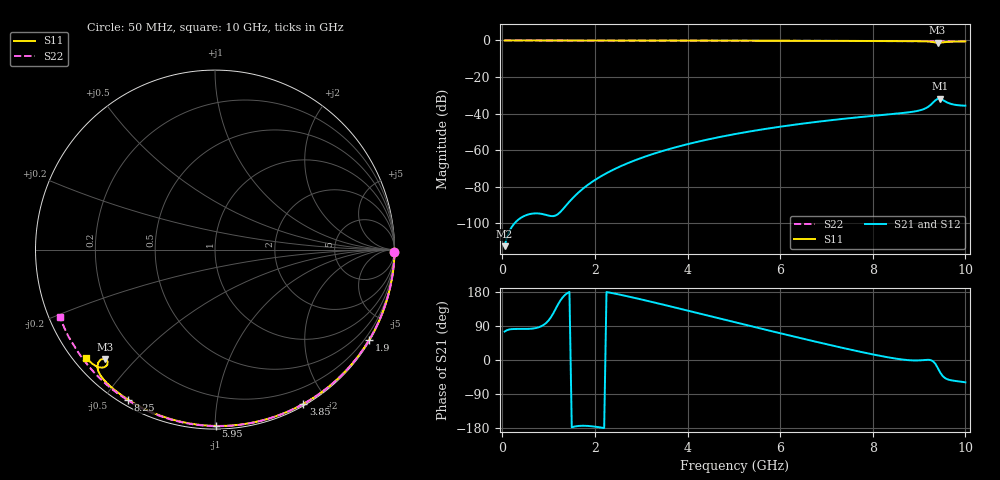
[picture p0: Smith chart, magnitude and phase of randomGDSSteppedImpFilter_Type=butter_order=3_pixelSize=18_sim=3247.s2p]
! freq	dB(S11)	phase(S11)	dB(S12)	phase(S12)
!  dB(S21)	phase(S21)	dB(S22)	phase(S22)
!S-par simulation data
#  GHz  S  DB  R 50
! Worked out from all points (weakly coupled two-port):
!   200 points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, 50 MHz to 10 GHz, reference 50 ohm
!   highest |S21| = -31.86 dB at 9.45 GHz (marker M1); lowest = -112.4 dB at 50 MHz (marker M2)
!   lowest |S11| = -1.3 dB at 9.4 GHz (marker M3), VSWR 13.62, Z = 4.29 - j20.5 ohm
!   |S11| at or under -10 dB: nowhere
!   |S22| runs from -0.5 to 0.0 dB; largest |S21 - S12| = 0
!   S11 on the Smith chart (normalised r, x): 50 MHz: open; 1.9 GHz: 0.03, -3.67; 3.85 GHz: 0.02, -1.73; 5.95 GHz: 0.02, -1.00; 8.25 GHz: 0.02, -0.58; 10 GHz: 0.04, -0.36
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0.05  -0.00 -0.8  -112.42 75.0  -112.42 75.0  -0.00 -0.9
0.9  -0.02 -14.6  -95.04 93.2  -95.04 93.2  -0.02 -16.2
1.75  -0.04 -28.1  -80.83 -173.5  -80.83 -173.5  -0.04 -31.2
1.8  -0.04 -28.9  -79.83 -173.7  -79.83 -173.7  -0.04 -32.1
1.9  -0.04 -30.5  -77.97 -174.5  -77.97 -174.5  -0.04 -33.8
2.2  -0.04 -35.2  -73.23 -179.6  -73.23 -179.6  -0.05 -39.0
2.55  -0.05 -40.6  -68.80 172.1  -68.80 172.1  -0.06 -45.0
3.4  -0.07 -53.5  -60.86 148.3  -60.86 148.3  -0.08 -59.2
3.85  -0.08 -60.2  -57.65 134.9  -57.65 134.9  -0.09 -66.5
5.05  -0.12 -77.4  -51.04 98.9  -51.04 98.9  -0.13 -85.4
5.95  -0.15 -89.8  -47.32 72.1  -47.32 72.1  -0.17 -98.9
6.7  -0.19 -99.8  -44.77 50.2  -44.77 50.2  -0.21 -109.8
8.25  -0.30 -120.0  -40.60 8.8  -40.60 8.8  -0.33 -131.7
8.35  -0.31 -121.3  -40.37 6.6  -40.37 6.6  -0.34 -133.1
9.05  -0.43 -131.4  -37.97 -0.7  -37.97 -0.7  -0.42 -142.9
9.2  -0.58 -134.2  -36.19 0.6  -36.19 0.6  -0.43 -145.0
9.3  -0.86 -135.9  -33.99 -3.2  -33.99 -3.2  -0.44 -146.4
9.4  -1.28 -135.1  -31.92 -20.2  -31.92 -20.2  -0.45 -147.8
9.45  -1.26 -133.7  -31.86 -31.8  -31.86 -31.8  -0.45 -148.5
9.55  -0.92 -133.2  -33.14 -46.8  -33.14 -46.8  -0.46 -150.0
9.7  -0.66 -135.5  -34.75 -53.7  -34.75 -53.7  -0.48 -152.1
10  -0.56 -140.1  -35.66 -58.8  -35.66 -58.8  -0.52 -156.4
